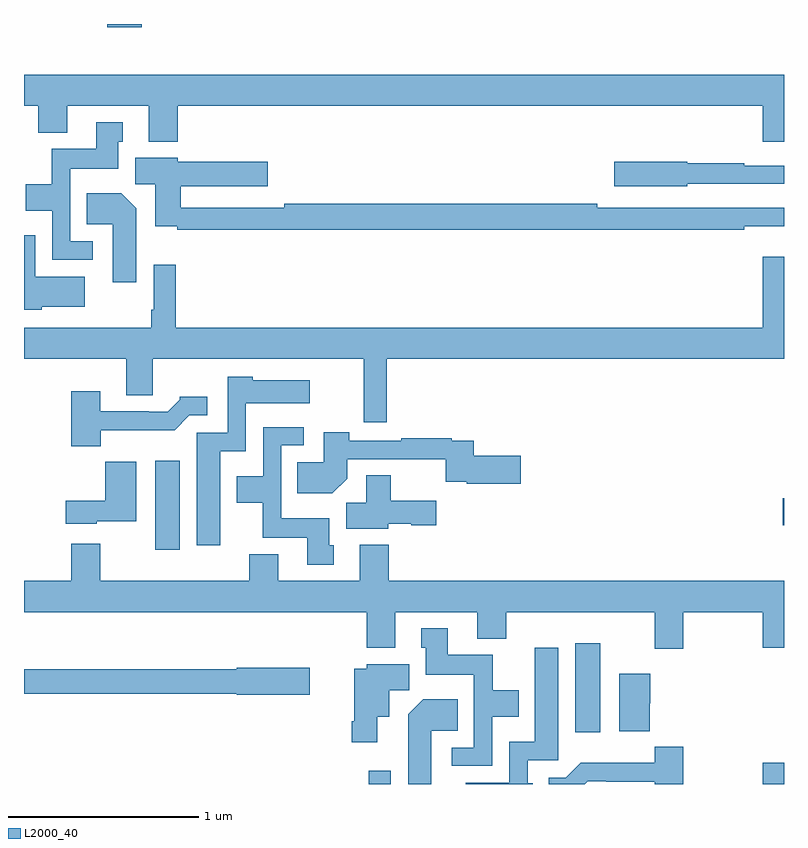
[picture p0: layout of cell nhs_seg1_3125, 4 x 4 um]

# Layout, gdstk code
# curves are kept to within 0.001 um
import gdstk
lib = gdstk.Library(unit=1e-6, precision=1e-09)
def R(c, l, rs):  # rectangles x0, y0, x1, y1
    for r in rs: c.add(gdstk.rectangle(r[:2], r[2:], *l))
def P(c, l, *ps):  # polygons
    for p in ps: c.add(gdstk.Polygon(p, *l))
L2000_40 = (2000, 40)

nhs_seg1_3125 = lib.new_cell('nhs_seg1_3125')
R(nhs_seg1_3125, L2000_40, [(282.814,512.199,282.93,512.269), (284.888,512.199,285,512.311), (283.901,512.472,284.032,512.941), (281.69,513.432,281.821,513.901), (284.994,513.562,285,513.704), (281.438,516.183,281.621,516.199)])
P(nhs_seg1_3125, L2000_40, [(281.81,515.768),(284.888,515.768),(284.888,515.58),(285,515.58),(285,515.932),(281,515.932),(281,515.768),(281.075,515.768),(281.075,515.627),(281.227,515.627),(281.227,515.768),(281.657,515.768),(281.657,515.579),(281.81,515.579)],
  [(281.362,515.055),(281.244,515.055),(281.244,515.438),(281.497,515.438),(281.497,515.58),(281.521,515.58),(281.521,515.683),(281.381,515.683),(281.381,515.542),(281.146,515.542),(281.146,515.356),(281.009,515.356),(281.009,515.216),(281.148,515.216),(281.148,514.959),(281.362,514.959)],
  [(284.792,515.135),(285,515.135),(285,515.232),(284.018,515.232),(284.018,515.252),(282.37,515.252),(282.37,515.232),(281.825,515.232),(281.825,515.345),(282.283,515.345),(282.283,515.475),(281.808,515.475),(281.808,515.494),(281.585,515.494),(281.585,515.356),(281.69,515.356),(281.69,515.135),(281.806,515.135),(281.806,515.116),(284.792,515.116)],
  [(284.49,515.358),(285,515.358),(285,515.454),(284.792,515.454),(284.792,515.467),(284.49,515.467),(284.49,515.475),(284.106,515.475),(284.106,515.345),(284.49,515.345)],
  [(281.59,515.23),(281.512,515.308),(281.329,515.308),(281.329,515.144),(281.468,515.144),(281.468,514.839),(281.59,514.839)],
  [(281.094,514.712),(281.32,514.712),(281.32,514.87),(281.058,514.87),(281.058,515.086),(281,515.086),(281,514.694),(281.094,514.694)],
  [(282.908,514.436),(285,514.436),(285,514.975),(284.888,514.975),(284.888,514.6),(281.798,514.6),(281.798,514.933),(281.682,514.933),(281.682,514.696),(281.67,514.696),(281.67,514.6),(281,514.6),(281,514.436),(281.537,514.436),(281.537,514.246),(281.677,514.246),(281.677,514.436),(282.787,514.436),(282.787,514.104),(282.908,514.104)],
  [(282.034,513.95),(282.168,513.95),(282.168,514.202),(282.505,514.202),(282.505,514.324),(282.204,514.324),(282.204,514.342),(282.072,514.342),(282.072,514.047),(281.909,514.047),(281.909,513.456),(282.034,513.456)],
  [(281.404,514.062),(281.793,514.062),(281.871,514.14),(281.965,514.14),(281.965,514.237),(281.82,514.237),(281.82,514.222),(281.756,514.158),(281.657,514.158),(281.657,514.161),(281.401,514.161),(281.401,514.267),(281.249,514.267),(281.249,513.977),(281.404,513.977)],
  [(282.631,513.456),(282.607,513.456),(282.607,513.598),(282.354,513.598),(282.354,513.981),(282.472,513.981),(282.472,514.077),(282.258,514.077),(282.258,513.82),(282.119,513.82),(282.119,513.68),(282.256,513.68),(282.256,513.494),(282.491,513.494),(282.491,513.354),(282.631,513.354)],
  [(282.7,513.806),(282.7,513.909),(283.219,513.908),(283.219,513.791),(283.33,513.791),(283.33,513.779),(283.615,513.779),(283.615,513.926),(283.367,513.926),(283.367,514.005),(283.25,514.005),(283.25,514.018),(282.985,514.018),(282.985,514.005),(282.713,514.005),(282.713,514.05),(282.578,514.05),(282.578,513.892),(282.439,513.892),(282.439,513.728),(282.622,513.728)],
  [(281.382,513.581),(281.59,513.581),(281.59,513.895),(281.428,513.895),(281.428,513.691),(281.22,513.691),(281.22,513.569),(281.382,513.569)],
  [(282.918,513.569),(283.038,513.569),(283.038,513.562),(283.171,513.562),(283.171,513.691),(282.93,513.691),(282.93,513.824),(282.8,513.824),(282.8,513.68),(282.695,513.68),(282.695,513.542),(282.918,513.542)],
  [(284.469,513.104),(284.888,513.104),(284.888,512.916),(285,512.916),(285,513.268),(282.92,513.268),(282.92,513.457),(282.767,513.457),(282.767,513.268),(282.337,513.268),(282.337,513.409),(282.185,513.409),(282.185,513.268),(281.401,513.268),(281.401,513.463),(281.249,513.463),(281.249,513.268),(281,513.268),(281,513.104),(282.803,513.104),(282.803,512.915),(282.955,512.915),(282.955,513.104),(283.385,513.104),(283.385,512.963),(283.538,512.963),(283.538,513.104),(284.321,513.104),(284.321,512.91),(284.469,512.91)],
  [(283.464,512.552),(283.603,512.552),(283.603,512.692),(283.467,512.692),(283.467,512.878),(283.231,512.878),(283.231,513.019),(283.091,513.019),(283.091,512.916),(283.115,512.916),(283.115,512.774),(283.368,512.774),(283.368,512.391),(283.251,512.391),(283.251,512.295),(283.464,512.295)],
  [(283.678,512.202),(283.65,512.202),(283.65,512.325),(283.813,512.325),(283.813,512.917),(283.688,512.917),(283.688,512.422),(283.554,512.422),(283.554,512.206),(283.326,512.206),(283.326,512.199),(283.678,512.199)],
  [(282.859,512.552),(282.922,512.552),(282.922,512.692),(283.027,512.692),(283.027,512.83),(282.804,512.83),(282.804,512.806),(282.737,512.806),(282.737,512.53),(282.725,512.53),(282.725,512.418),(282.859,512.418)],
  [(282.505,512.811),(282.12,512.811),(282.12,512.803),(281,512.803),(281,512.674),(282.12,512.674),(282.12,512.669),(282.505,512.669)],
  [(284.294,512.625),(284.296,512.625),(284.296,512.779),(284.132,512.779),(284.132,512.477),(284.294,512.477)],
  [(283.144,512.48),(283.283,512.48),(283.283,512.644),(283.1,512.644),(283.022,512.566),(283.022,512.199),(283.144,512.199)],
  [(283.966,512.214),(284.065,512.214),(284.065,512.211),(284.321,512.211),(284.321,512.199),(284.469,512.199),(284.469,512.395),(284.319,512.395),(284.319,512.311),(283.93,512.311),(283.851,512.232),(283.763,512.232),(283.763,512.199),(283.951,512.199)])

lib.write_gds('nhs_seg1_3125.gds')
